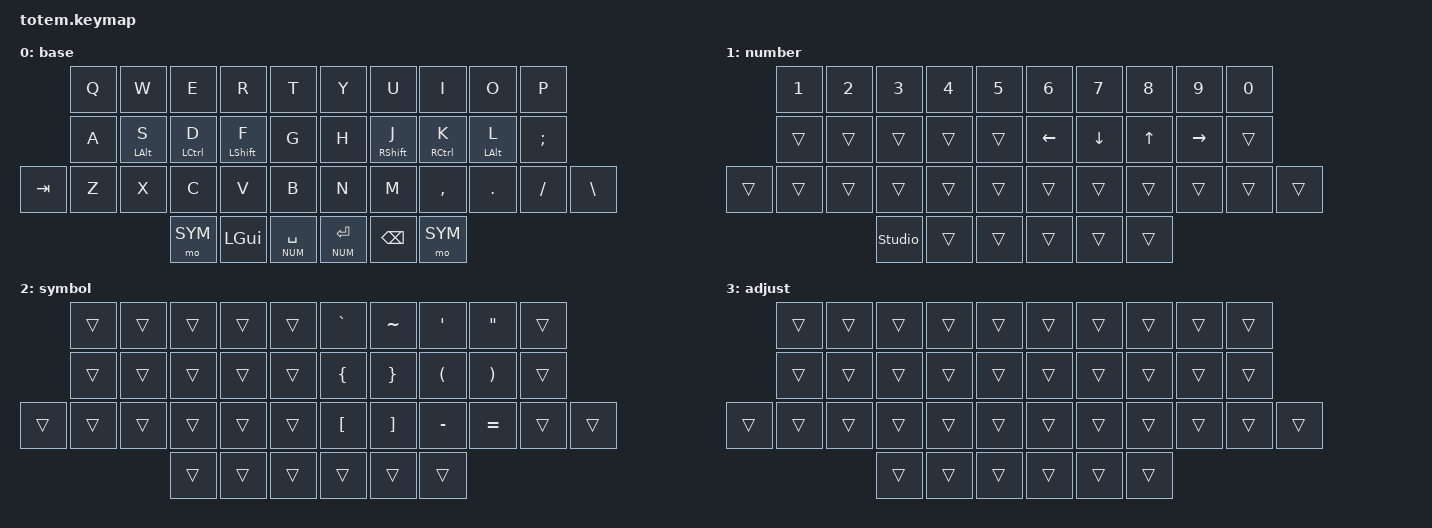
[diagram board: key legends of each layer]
#include <behaviors.dtsi>
#include <dt-bindings/zmk/keys.h>
#include <dt-bindings/zmk/bt.h>
#include <dt-bindings/zmk/outputs.h>

#define BASE 0
#define NUM  1
#define SYM  2
#define ADJ  3

&mt {
  tapping-term-ms = <250>;
  quick-tap-ms = <150>;
  require-prior-idle-ms = <150>;
  flavor = "balanced";
};

&lt {
  tapping-term-ms = <250>;
  quick-tap-ms = <150>;
  require-prior-idle-ms = <150>;
  flavor = "balanced";
};

/ {
        behaviors {
                hml: homerow_mod_left {
                        compatible = "zmk,behavior-hold-tap";
                        #binding-cells = <2>;
                        flavor = "balanced";
                        tapping-term-ms = <250>;
                        quick-tap-ms = <150>;
                        require-prior-idle-ms = <150>;
                        bindings = <&kp>, <&kp>;
                        hold-trigger-key-positions = <5 6 7 8 9 15 16 17 18 19 26 27 28 29 30 31 35 36 37>;
                        hold-trigger-on-release;
                };

                hmr: homerow_mod_right {
                        compatible = "zmk,behavior-hold-tap";
                        #binding-cells = <2>;
                        flavor = "balanced";
                        tapping-term-ms = <250>;
                        quick-tap-ms = <150>;
                        require-prior-idle-ms = <150>;
                        bindings = <&kp>, <&kp>;
                        hold-trigger-key-positions = <0 1 2 3 4 10 11 12 13 14 20 21 22 23 24 25 32 33 34>;
                        hold-trigger-on-release;
                };
        };

        combos {
                compatible = "zmk,combos";

                combo_inner_thumbs_esc {
                        timeout-ms = <100>;
                        key-positions = <34 35>;
                        bindings = <&kp ESC>;
                };
        };

        keymap {
                compatible = "zmk,keymap";
//             ┏━━━━━━━━━━━┳━━━━━━━━━━━┳━━━━━━━━━━━┳━━━━━━━━━━━┳━━━━━━━━━━━┓   ┏━━━━━━━━━━━┳━━━━━━━━━━━┳━━━━━━━━━━━┳━━━━━━━━━━━┳━━━━━━━━━━━┓
//             ┃     Q     ┃     W     ┃     E     ┃     R     ┃     T     ┃   ┃     Y     ┃     U     ┃     I     ┃     O     ┃     P     ┃
//             ┣━━━━━━━━━━━╋━━━━━━━━━━━╋━━━━━━━━━━━╋━━━━━━━━━━━╋━━━━━━━━━━━┫   ┣━━━━━━━━━━━╋━━━━━━━━━━━╋━━━━━━━━━━━╋━━━━━━━━━━━╋━━━━━━━━━━━┫
//             ┃     A     ┃   ALT/S   ┃  CTRL/D   ┃  SHFT/F   ┃     G     ┃   ┃     H     ┃  SHFT/J   ┃  CTRL/K   ┃   ALT/L   ┃     ;     ┃
// ┏━━━━━━━━━━━╋━━━━━━━━━━━╋━━━━━━━━━━━╋━━━━━━━━━━━╋━━━━━━━━━━━╋━━━━━━━━━━━┫   ┣━━━━━━━━━━━╋━━━━━━━━━━━╋━━━━━━━━━━━╋━━━━━━━━━━━╋━━━━━━━━━━━╋━━━━━━━━━━━┓
// ┃   SHIFT   ┃     Z     ┃     X     ┃     C     ┃     V     ┃     B     ┃   ┃     N     ┃     M     ┃     ,     ┃     .     ┃     /     ┃     \\    ┃
// ┗━━━━━━━━━━━┻━━━━━━━━━━━┻━━━━━━━━━━━╋━━━━━━━━━━━╋━━━━━━━━━━━╋━━━━━━━━━━━┫   ┣━━━━━━━━━━━╋━━━━━━━━━━━╋━━━━━━━━━━━╋━━━━━━━━━━━┻━━━━━━━━━━━┻━━━━━━━━━━━┛
//                                     ┃    SYM    ┃    GUI    ┃ NUM/SPC   ┃   ┃ NUM/RET   ┃   BSPC    ┃    SYM    ┃
//                                     ┗━━━━━━━━━━━┻━━━━━━━━━━━┻━━━━━━━━━━━┛   ┗━━━━━━━━━━━┻━━━━━━━━━━━┻━━━━━━━━━━━┛
                base_layer {
                    display-name = "base";
                    bindings = <
                 &kp Q        &kp W        &kp E        &kp R        &kp T           &kp Y        &kp U        &kp I        &kp O        &kp P
                 &kp A        &hml LALT S  &hml LCTRL D &hml LSHFT F &kp G           &kp H        &hmr RSHFT J &hmr RCTRL K &hmr LALT L  &kp SEMI
    &kp TAB      &kp Z        &kp X        &kp C        &kp V        &kp B           &kp N        &kp M        &kp COMMA    &kp DOT      &kp FSLH     &kp BSLH
                                           &mo SYM      &kp LGUI     &lt NUM SPACE   &lt NUM RET  &kp BSPC     &mo SYM
                        >;
                };

                num_layer {
                    display-name = "number";
                    bindings = <
                &kp N1      &kp N2      &kp N3      &kp N4      &kp N5          &kp N6      &kp N7      &kp N8      &kp N9      &kp N0
                &trans      &trans      &trans      &trans      &trans          &kp LEFT    &kp DOWN    &kp UP      &kp RIGHT   &trans
    &trans      &trans      &trans      &trans      &trans      &trans          &trans      &trans      &trans      &trans      &trans      &trans
                                        &studio_unlock &trans   &trans          &trans      &trans      &trans
                        >;
                };

                sym_layer {
                    display-name = "symbol";
                    bindings = <
                &trans      &trans      &trans      &trans      &trans          &kp GRAVE   &kp TILDE   &kp SQT     &kp DQT     &trans
                &trans      &trans      &trans      &trans      &trans          &kp LBRC    &kp RBRC    &kp LPAR    &kp RPAR    &trans
    &trans      &trans      &trans      &trans      &trans      &trans          &kp LBKT    &kp RBKT    &kp MINUS   &kp EQUAL   &trans      &trans
                                        &trans      &trans      &trans          &trans      &trans      &trans
                        >;
                };

                adj_layer {
                    display-name = "adjust";
                    bindings = <
                &trans      &trans      &trans      &trans      &trans          &trans      &trans      &trans      &trans      &trans
                &trans      &trans      &trans      &trans      &trans          &trans      &trans      &trans      &trans      &trans
    &trans      &trans      &trans      &trans      &trans      &trans          &trans      &trans      &trans      &trans      &trans      &trans
                                        &trans      &trans      &trans          &trans      &trans      &trans
                        >;
                };
        };
};
